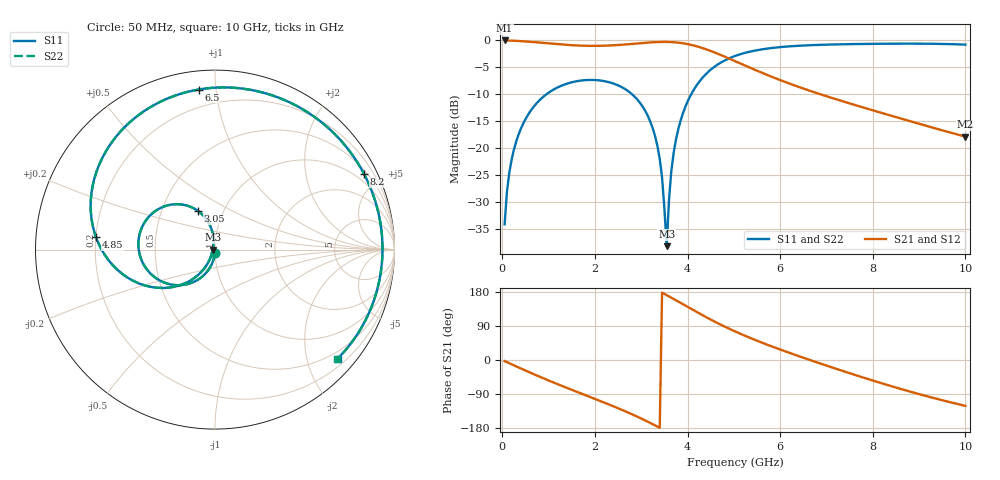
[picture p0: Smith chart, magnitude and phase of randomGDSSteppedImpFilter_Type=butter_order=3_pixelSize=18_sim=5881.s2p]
! freq	dB(S11)	phase(S11)	dB(S12)	phase(S12)
!  dB(S21)	phase(S21)	dB(S22)	phase(S22)
!S-par simulation data
#  GHz  S  DB  R 50
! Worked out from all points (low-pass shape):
!   200 points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, 50 MHz to 10 GHz, reference 50 ohm
!   highest |S21| = -0.01 dB at 50 MHz (marker M1); lowest = -17.9 dB at 10 GHz (marker M2)
!   |S21| within 3 dB of the highest: start of sweep to 4.801 GHz
!   lowest |S11| = -38.2 dB at 3.55 GHz (marker M3), VSWR 1.02, Z = 48.8 - j0.0366 ohm
!   |S11| at or under -10 dB: start of sweep to 954.9 MHz; 2.8 GHz to 4.08 GHz (1.28 GHz wide, 37.2 % of centre)
!   |S22| runs from -38.1 to -0.6 dB; largest |S21 - S12| = 0
!   S11 on the Smith chart (normalised r, x): 50 MHz: 1.00, -0.04; 3.05 GHz: 0.76, +0.35; 4.85 GHz: 0.20, +0.05; 6.5 GHz: 0.10, +0.90; 8.2 GHz: 0.65, +4.10; 10 GHz: 0.35, -2.59
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0.05  -34.17 -92.8  -0.01 -2.8  -0.01 -2.8  -34.17 -92.8
0.2  -22.22 -101.6  -0.04 -11.3  -0.04 -11.3  -22.22 -101.6
0.5  -14.65 -118.3  -0.19 -27.8  -0.19 -27.8  -14.65 -118.3
1.1  -9.17 -149.6  -0.64 -59.1  -0.64 -59.1  -9.17 -149.6
1.75  -7.41 178.9  -0.99 -90.6  -0.99 -90.6  -7.41 178.9
2.45  -8.17 145.2  -0.88 -124.7  -0.88 -124.7  -8.17 145.2
3.05  -12.57 113.7  -0.47 -157.3  -0.47 -157.3  -12.57 113.7
3.4  -22.04 97.6  -0.29 -178.9  -0.29 -178.9  -22.03 97.7
3.55  -38.24 -178.2  -0.28 171.2  -0.28 171.2  -38.12 -178.4
3.65  -24.28 -118.0  -0.31 164.4  -0.31 164.4  -24.27 -118.2
3.9  -13.56 -127.4  -0.53 147.2  -0.53 147.2  -13.56 -127.5
4.35  -6.69 -155.9  -1.50 116.4  -1.50 116.4  -6.69 -156.0
4.85  -3.52 174.1  -3.19 85.4  -3.19 85.4  -3.52 174.0
5.05  -2.82 163.1  -3.94 74.1  -3.94 74.1  -2.82 163.1
5.65  -1.61 133.3  -6.17 43.7  -6.17 43.7  -1.61 133.2
6.5  -0.95 95.8  -8.95 6.0  -8.95 6.0  -0.95 95.8
6.7  -0.87 87.5  -9.53 -2.4  -9.53 -2.4  -0.87 87.4
7.4  -0.71 58.8  -11.45 -30.9  -11.45 -30.9  -0.71 58.8
8.2  -0.62 26.8  -13.50 -61.7  -13.50 -61.7  -0.62 26.7
8.35  -0.61 20.8  -13.88 -67.2  -13.88 -67.2  -0.61 20.8
9.15  -0.61 -10.3  -15.86 -95.0  -15.86 -95.0  -0.61 -10.4
10  -0.78 -41.6  -17.89 -121.0  -17.89 -121.0  -0.78 -41.7
